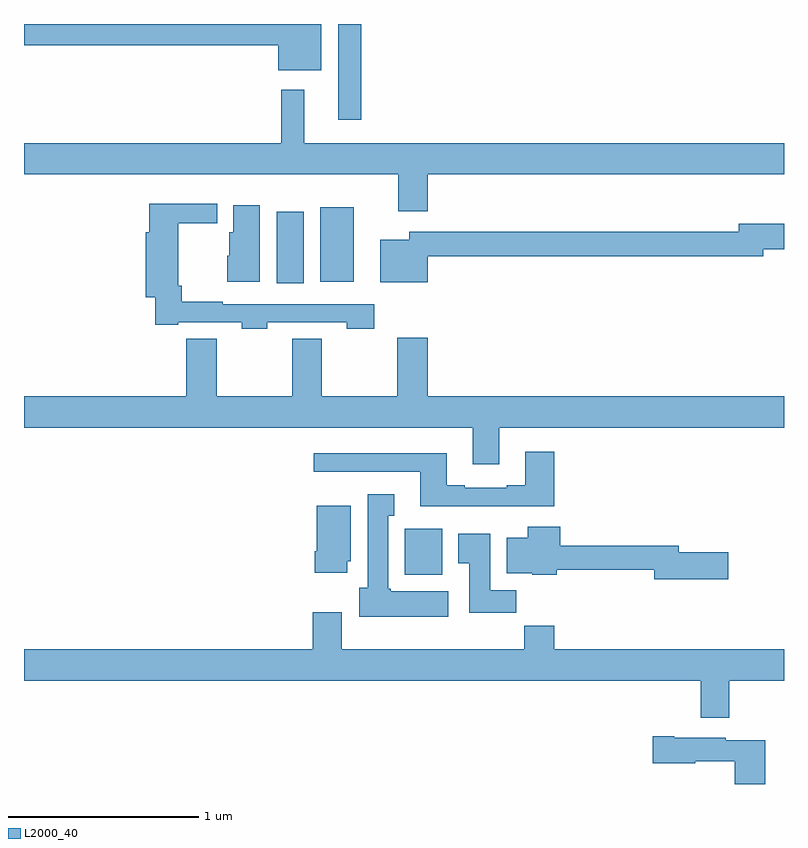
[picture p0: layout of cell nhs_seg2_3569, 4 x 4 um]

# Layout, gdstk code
import gdstk
lib = gdstk.Library(unit=1e-6, precision=1e-09)
def R(c, l, rs):  # rectangles x0, y0, x1, y1
    for r in rs: c.add(gdstk.rectangle(r[:2], r[2:], *l))
def P(c, l, *ps):  # polygons
    for p in ps: c.add(gdstk.Polygon(p, *l))
L2000_40 = (2000, 40)

nhs_seg2_3569 = lib.new_cell('nhs_seg2_3569')
R(nhs_seg2_3569, L2000_40, [(301.004,606.902,301.201,607.144), (300.329,608.436,300.472,608.812), (300.56,608.444,300.736,608.836), (300.653,609.297,300.775,609.8)])
P(nhs_seg2_3569, L2000_40, [(300.565,609.8),(299,609.8),(299,609.688),(300.338,609.688),(300.338,609.557),(300.565,609.557)],
  [(300.475,609.454),(300.354,609.454),(300.354,609.172),(299,609.172),(299,609.008),(300.971,609.008),(300.971,608.814),(301.124,608.814),(301.124,609.008),(303,609.008),(303,609.172),(300.475,609.172)],
  [(300.279,608.229),(300.699,608.229),(300.699,608.197),(300.844,608.197),(300.844,608.325),(300.047,608.325),(300.047,608.338),(299.83,608.338),(299.83,608.422),(299.812,608.422),(299.812,608.752),(300.016,608.752),(300.016,608.854),(299.66,608.854),(299.66,608.703),(299.642,608.703),(299.642,608.363),(299.691,608.363),(299.691,608.217),(299.812,608.217),(299.812,608.229),(300.147,608.229),(300.147,608.197),(300.279,608.197)],
  [(300.241,608.845),(300.101,608.845),(300.101,608.703),(300.08,608.703),(300.08,608.58),(300.071,608.58),(300.071,608.444),(300.241,608.444)],
  [(301.126,608.578),(302.89,608.578),(302.89,608.615),(303,608.615),(303,608.749),(302.762,608.749),(302.762,608.707),(301.028,608.707),(301.028,608.665),(300.875,608.665),(300.875,608.441),(301.126,608.441)],
  [(301.501,607.676),(303,607.676),(303,607.84),(301.124,607.84),(301.124,608.149),(300.964,608.149),(300.964,607.84),(300.566,607.84),(300.566,608.144),(300.412,608.144),(300.412,607.84),(300.014,607.84),(300.014,608.144),(299.855,608.144),(299.855,607.84),(299,607.84),(299,607.676),(301.361,607.676),(301.361,607.482),(301.501,607.482)],
  [(301.79,607.549),(301.637,607.549),(301.637,607.372),(301.541,607.372),(301.541,607.359),(301.321,607.359),(301.321,607.372),(301.225,607.372),(301.225,607.54),(300.525,607.54),(300.525,607.443),(301.085,607.443),(301.085,607.262),(301.79,607.262)],
  [(301.234,606.814),(300.93,606.814),(300.93,606.828),(300.916,606.828),(300.916,607.211),(300.949,607.211),(300.949,607.324),(300.809,607.324),(300.809,606.834),(300.764,606.834),(300.764,606.68),(301.234,606.68)],
  [(300.7,606.972),(300.721,606.972),(300.721,607.264),(300.542,607.264),(300.542,607.024),(300.53,607.024),(300.53,606.912),(300.7,606.912)],
  [(302.707,607.019),(302.446,607.019),(302.446,607.055),(301.823,607.055),(301.823,607.153),(301.652,607.153),(301.652,607.096),(301.541,607.096),(301.541,606.908),(301.674,606.908),(301.674,606.902),(301.805,606.902),(301.805,606.927),(302.318,606.927),(302.318,606.877),(302.707,606.877)],
  [(301.592,606.82),(301.453,606.82),(301.453,607.117),(301.286,607.117),(301.286,606.961),(301.343,606.961),(301.343,606.702),(301.592,606.702)],
  [(302.713,606.344),(303,606.344),(303,606.508),(301.79,606.508),(301.79,606.632),(301.633,606.632),(301.633,606.508),(300.673,606.508),(300.673,606.703),(300.521,606.703),(300.521,606.508),(299,606.508),(299,606.344),(302.561,606.344),(302.561,606.15),(302.713,606.15)],
  [(302.902,606.031),(302.694,606.031),(302.694,606.043),(302.422,606.043),(302.422,606.051),(302.31,606.051),(302.31,605.909),(302.532,605.909),(302.532,605.921),(302.74,605.921),(302.74,605.8),(302.902,605.8)])

lib.write_gds('nhs_seg2_3569.gds')
